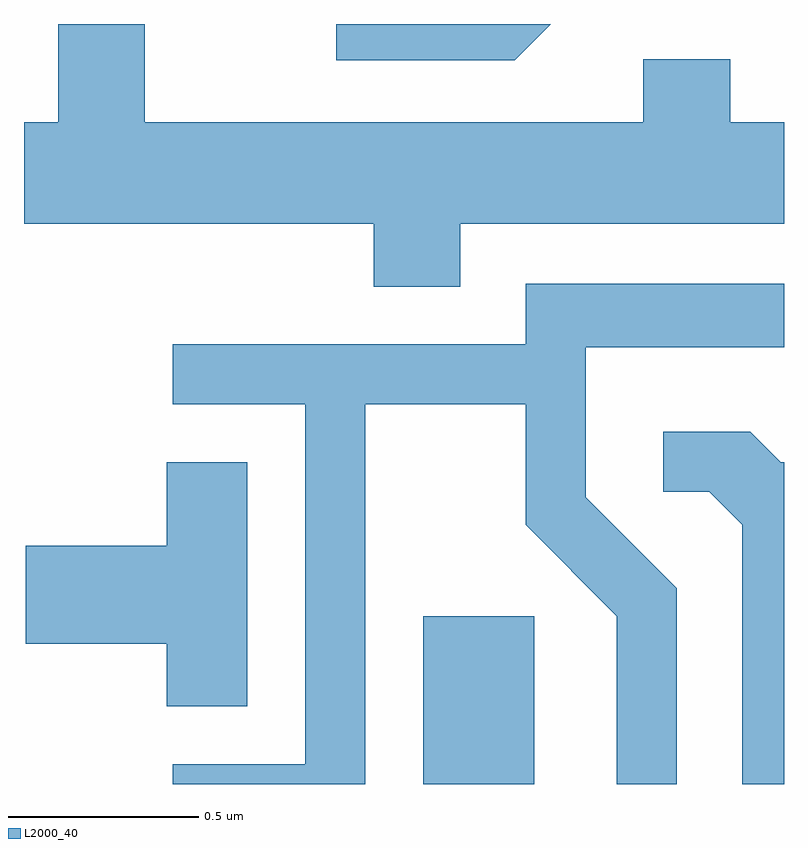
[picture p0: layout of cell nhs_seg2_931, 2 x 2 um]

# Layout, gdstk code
import gdstk
lib = gdstk.Library(unit=1e-6, precision=1e-09)
def R(c, l, rs):  # rectangles x0, y0, x1, y1
    for r in rs: c.add(gdstk.rectangle(r[:2], r[2:], *l))
def P(c, l, *ps):  # polygons
    for p in ps: c.add(gdstk.Polygon(p, *l))
L2000_40 = (2000, 40)

nhs_seg2_931 = lib.new_cell('nhs_seg2_931')
R(nhs_seg2_931, L2000_40, [(192.661,1086.802,192.954,1087.244)])
P(nhs_seg2_931, L2000_40, [(192.997,1088.802),(192.433,1088.802),(192.433,1088.706),(192.902,1088.706)],
  [(192.759,1088.276),(193.611,1088.276),(193.611,1088.544),(193.469,1088.544),(193.469,1088.709),(193.241,1088.709),(193.241,1088.544),(191.929,1088.544),(191.929,1088.802),(191.701,1088.802),(191.701,1088.544),(191.611,1088.544),(191.611,1088.276),(192.531,1088.276),(192.531,1088.111),(192.759,1088.111)],
  [(192.509,1087.801),(192.931,1087.801),(192.931,1087.484),(193.171,1087.244),(193.171,1086.802),(193.329,1086.802),(193.329,1087.317),(193.089,1087.557),(193.089,1087.951),(193.611,1087.951),(193.611,1088.119),(192.931,1088.119),(192.931,1087.959),(192.003,1087.959),(192.003,1087.801),(192.351,1087.801),(192.351,1086.854),(192.003,1086.854),(192.003,1086.802),(192.509,1086.802)],
  [(193.611,1087.649),(193.602,1087.649),(193.522,1087.729),(193.293,1087.729),(193.293,1087.571),(193.414,1087.571),(193.501,1087.484),(193.501,1086.802),(193.611,1086.802)],
  [(192.199,1087.649),(191.986,1087.649),(191.986,1087.429),(191.616,1087.429),(191.616,1087.171),(191.986,1087.171),(191.986,1087.006),(192.199,1087.006)])

lib.write_gds('nhs_seg2_931.gds')
